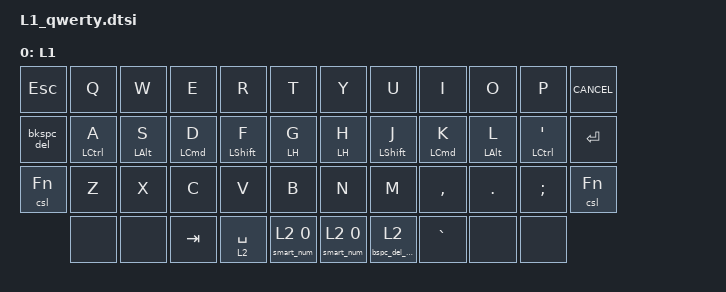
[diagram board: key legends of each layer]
/**
 * Alpha Layer - QWERTY
 */

/ {
  keymap {
    compatible = "zmk,keymap";

    qwerty_layer {
      display-name = "L1";
      bindings = <
// ╭───────────────┬───────────────┬───────────────┬───────────────┬───────────────┬───────────────╮   ╭───────────────┬───────────────┬───────────────┬───────────────┬───────────────┬───────────────╮
// │0              │1              │2              │3              │4              │5              │   │6              │7              │8              │9              │10             │11             │
    &kp ESC         &kp Q           &kp W           &kp E           &kp R           &kp T               &kp Y           &kp U           &kp I           &kp O           &kp P           &kp K_CANCEL
// ├───────────────├───────────────┼───────────────┼───────────────┼───────────────┼───────────────┤   ├───────────────┼───────────────┼───────────────┼───────────────┼───────────────┼───────────────┤
// │12             │13             │14             │15             │16             │17             │   │18             │19             │20             │21             │22             │23             │
    &bkspc_del      &hrml LCTRL A   &hrml LALT S    &hrml LCMD D    &hrml LSHFT F   &hrml LH G          &hrmr LH H     &hrmr LSHFT J   &hrmr LCMD K    &hrmr LALT L    &hrmr LCTRL SQT &kp ENTER
// ├───────────────├───────────────┼───────────────┼───────────────┼───────────────┼───────────────┤   ├───────────────┼───────────────┼───────────────┼───────────────┼───────────────┼───────────────┤
// │24             │25             │26             │27             │28             │29             │   │30             │31             │32             │33             │34             │35             │
    &csl Fn         &kp Z           &kp X           &kp C           &kp V           &kp B               &kp N           &kp M           &kp COMMA       &kp DOT         &kp SEMICOLON   &csl Fn
// ╰───────────────┼───────────────┼───────────────┼───────────────┼───────────────┼───────────────┤   ├───────────────┼───────────────┼───────────────┼───────────────┼───────────────┼───────────────╯
//                 │36             │37             │38             │39             │40             │   │41             │42             │43             │44             │45             │
                    &none           &none           &kp TAB         &lt L2 SPACE    &smart_num L2 0     &smart_num L2 0 &bspc_del_mo L2 &kp GRAVE       &none           &none
//                 ╰───────────────┴───────────────┴───────────────┴───────────────┴───────────────╯   ╰───────────────┴───────────────┴───────────────┴───────────────┴───────────────╯
      >;
    };
  };
};
